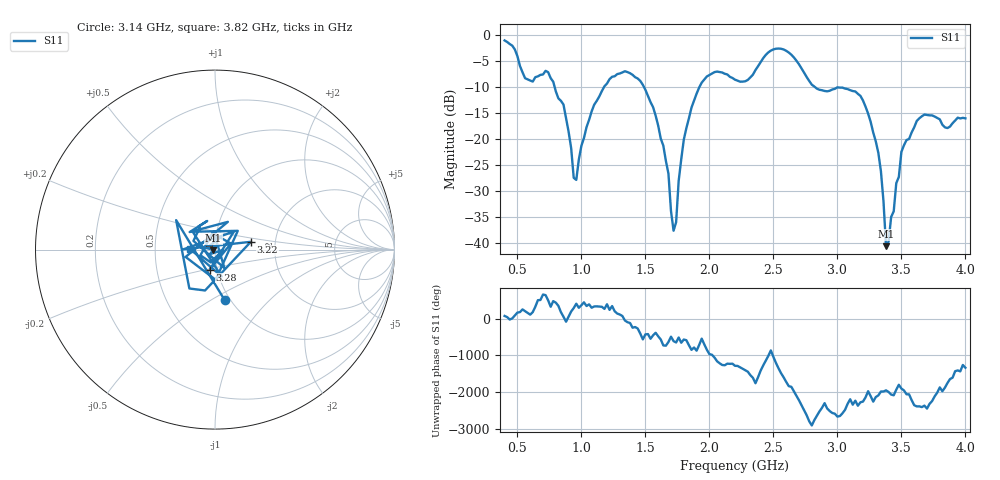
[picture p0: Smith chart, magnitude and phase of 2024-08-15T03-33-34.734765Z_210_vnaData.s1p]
!Created with skrf (http://scikit-rf.org).
# Hz S RI R 50.0
!freq ReS11 ImS11
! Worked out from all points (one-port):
!   181 points, 400 MHz to 4 GHz, reference 50 ohm
!   lowest |S11| = -40.6 dB at 3.38 GHz (marker M1), VSWR 1.02, Z = 49.1 - j0.348 ohm
!   |S11| at or under -10 dB: 790.9 MHz to 1.177 GHz (386.2 MHz wide, 39.2 % of centre); 1.489 GHz to 1.922 GHz (433.6 MHz wide, 25.4 % of centre); 2.824 GHz to end of sweep
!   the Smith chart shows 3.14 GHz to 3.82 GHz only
!   S11 on the Smith chart (normalised r, x): 3.14 GHz: 0.94, -0.58; 3.22 GHz: 1.49, +0.14; 3.28 GHz: 0.92, -0.21; 3.82 GHz: 0.76, +0.00
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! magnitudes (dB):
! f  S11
! 400 MHz  -1.1
! 740 MHz  -7.2
! 860 MHz  -13.4
! 960 MHz  -27.8
! 1.1 GHz  -13.4
! 1.3 GHz  -7.4
! 1.56 GHz  -13.9
! 1.68 GHz  -26.6
! 1.72 GHz  -37.6
! 1.74 GHz  -36.0
! 1.76 GHz  -28.0
! 1.82 GHz  -17.9
! 1.94 GHz  -9.2
! 2.2 GHz  -8.6
! 2.5 GHz  -2.8
! 2.66 GHz  -4.3
! 2.84 GHz  -10.3
! 3.1 GHz  -10.6
! 3.14 GHz  -10.9
! 3.22 GHz  -13.8
! 3.28 GHz  -18.8
! 3.34 GHz  -26.2
! 3.38 GHz  -40.6
! 3.5 GHz  -22.5
! 3.56 GHz  -20.0
! 3.68 GHz  -15.3
! 3.82 GHz  -17.2
! 4 GHz  -16.0
